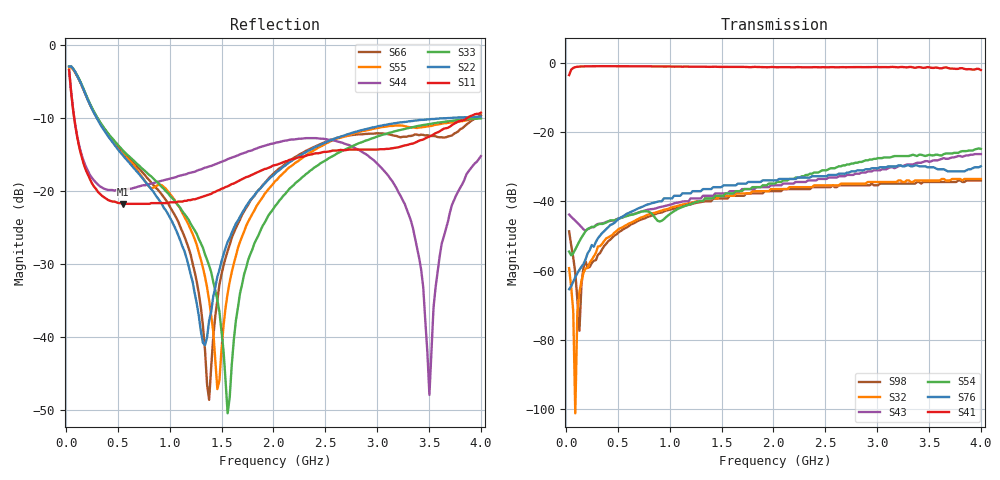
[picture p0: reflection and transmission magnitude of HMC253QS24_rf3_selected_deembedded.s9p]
!Hittite Microwave Corporation
!12 Elizabeth Drive
!Chelmsford, MA 01824
!Tel: 978-250-3343
!Fax: 978-250-3373
!Device: HMC253QS24, DC-2.5 GHz GaAS MMIC SP8T Non-Reflective Switch in 24-lead QSOP package
!Misc: Port 1 = RFCom, Port 2 = RF1, Port 3 = RF2, Port 4 = RF3, Port 5 = RF4, Port 6 = RF5, Port 7 = RF6, Port 8 = RF7, Port 9 = RF8, RF3 selected, Vdd=+5V
# MHZ S MA R 50
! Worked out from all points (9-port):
!   201 points, 30 MHz to 4 GHz, reference 50 ohm
!   strongest paths, dB at 30 MHz, 1.022 GHz, 2.015 GHz, 3.007 GHz, 4 GHz:
!     S41: -3.6, -1.1, -1.3, -1.3, -2.1
!     S76: -65.4, -39.2, -34.0, -30.5, -29.9
!     S54: -54.5, -43.2, -34.9, -27.5, -24.9
!     S43: -43.8, -40.8, -35.4, -31.1, -26.4
!     S32: -59.3, -41.7, -36.5, -34.4, -33.6
!     S98: -48.7, -42.3, -37.1, -35.4, -34.0
!   lowest |S11| = -21.7 dB at 546.1 MHz (marker M1), VSWR 1.18, Z = 58.8 - j1.65 ohm
!   |S11| at or under -10 dB: 79.52 MHz to 3.865 GHz (3.785 GHz wide, 192 % of centre)
